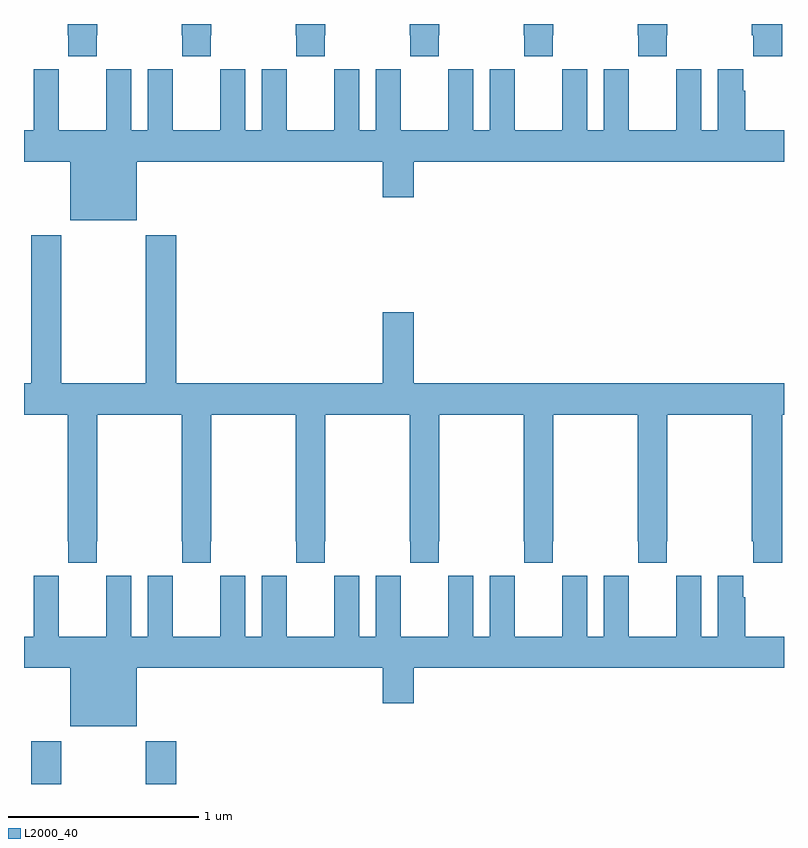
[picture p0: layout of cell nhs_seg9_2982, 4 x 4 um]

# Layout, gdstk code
import gdstk
lib = gdstk.Library(unit=1e-6, precision=1e-09)
def R(c, l, rs):  # rectangles x0, y0, x1, y1
    for r in rs: c.add(gdstk.rectangle(r[:2], r[2:], *l))
def P(c, l, *ps):  # polygons
    for p in ps: c.add(gdstk.Polygon(p, *l))
L2000_40 = (2000, 40)

nhs_seg9_2982 = lib.new_cell('nhs_seg9_2982')
R(nhs_seg9_2982, L2000_40, [(283.037,1170.5,283.197,1170.724), (283.642,1170.5,283.802,1170.724)])
P(nhs_seg9_2982, L2000_40, [(286.991,1174.5),(286.831,1174.5),(286.831,1174.441),(286.837,1174.441),(286.837,1174.329),(286.991,1174.329)],
  [(283.383,1174.441),(283.386,1174.441),(283.386,1174.5),(283.231,1174.5),(283.231,1174.441),(283.233,1174.441),(283.233,1174.329),(283.383,1174.329)],
  [(283.983,1174.441),(283.986,1174.441),(283.986,1174.5),(283.831,1174.5),(283.831,1174.441),(283.833,1174.441),(283.833,1174.329),(283.983,1174.329)],
  [(284.583,1174.441),(284.586,1174.441),(284.586,1174.5),(284.431,1174.5),(284.431,1174.441),(284.433,1174.441),(284.433,1174.329),(284.583,1174.329)],
  [(285.183,1174.441),(285.186,1174.441),(285.186,1174.5),(285.031,1174.5),(285.031,1174.441),(285.033,1174.441),(285.033,1174.329),(285.183,1174.329)],
  [(285.783,1174.441),(285.786,1174.441),(285.786,1174.5),(285.631,1174.5),(285.631,1174.441),(285.633,1174.441),(285.633,1174.329),(285.783,1174.329)],
  [(286.383,1174.441),(286.386,1174.441),(286.386,1174.5),(286.231,1174.5),(286.231,1174.441),(286.233,1174.441),(286.233,1174.329),(286.383,1174.329)],
  [(283.182,1174.148),(283.182,1174.261),(283.052,1174.261),(283.052,1173.94),(283,1173.94),(283,1173.776),(283.244,1173.776),(283.244,1173.467),(283.594,1173.467),(283.594,1173.776),(284.888,1173.776),(284.888,1173.588),(285.052,1173.588),(285.052,1173.776),(287,1173.776),(287,1173.94),(286.796,1173.94),(286.796,1174.148),(286.786,1174.148),(286.786,1174.261),(286.652,1174.261),(286.652,1173.94),(286.564,1173.94),(286.564,1174.261),(286.434,1174.261),(286.434,1174.148),(286.433,1174.148),(286.433,1173.94),(286.183,1173.94),(286.183,1174.148),(286.182,1174.148),(286.182,1174.261),(286.052,1174.261),(286.052,1173.94),(285.964,1173.94),(285.964,1174.261),(285.834,1174.261),(285.834,1174.148),(285.833,1174.148),(285.833,1173.94),(285.583,1173.94),(285.583,1174.148),(285.582,1174.148),(285.582,1174.261),(285.452,1174.261),(285.452,1173.94),(285.364,1173.94),(285.364,1174.261),(285.234,1174.261),(285.234,1174.148),(285.233,1174.148),(285.233,1173.94),(284.983,1173.94),(284.983,1174.148),(284.982,1174.148),(284.982,1174.261),(284.852,1174.261),(284.852,1173.94),(284.764,1173.94),(284.764,1174.261),(284.634,1174.261),(284.634,1174.148),(284.633,1174.148),(284.633,1173.94),(284.383,1173.94),(284.383,1174.148),(284.382,1174.148),(284.382,1174.261),(284.252,1174.261),(284.252,1173.94),(284.164,1173.94),(284.164,1174.261),(284.034,1174.261),(284.034,1174.148),(284.033,1174.148),(284.033,1173.94),(283.783,1173.94),(283.783,1174.148),(283.782,1174.148),(283.782,1174.261),(283.652,1174.261),(283.652,1173.94),(283.564,1173.94),(283.564,1174.261),(283.434,1174.261),(283.434,1174.148),(283.433,1174.148),(283.433,1173.94),(283.183,1173.94),(283.183,1174.148)],
  [(283.383,1171.777),(283.386,1171.777),(283.386,1172.444),(283.831,1172.444),(283.831,1171.777),(283.833,1171.777),(283.833,1171.665),(283.983,1171.665),(283.983,1171.777),(283.986,1171.777),(283.986,1172.444),(284.431,1172.444),(284.431,1171.777),(284.433,1171.777),(284.433,1171.665),(284.583,1171.665),(284.583,1171.777),(284.586,1171.777),(284.586,1172.444),(285.031,1172.444),(285.031,1171.777),(285.033,1171.777),(285.033,1171.665),(285.183,1171.665),(285.183,1171.777),(285.186,1171.777),(285.186,1172.444),(285.631,1172.444),(285.631,1171.777),(285.633,1171.777),(285.633,1171.665),(285.783,1171.665),(285.783,1171.777),(285.786,1171.777),(285.786,1172.444),(286.231,1172.444),(286.231,1171.777),(286.233,1171.777),(286.233,1171.665),(286.383,1171.665),(286.383,1171.777),(286.386,1171.777),(286.386,1172.444),(286.831,1172.444),(286.831,1171.777),(286.837,1171.777),(286.837,1171.665),(286.991,1171.665),(286.991,1172.444),(287,1172.444),(287,1172.608),(285.052,1172.608),(285.052,1172.983),(284.888,1172.983),(284.888,1172.608),(283.802,1172.608),(283.802,1173.388),(283.642,1173.388),(283.642,1172.608),(283.197,1172.608),(283.197,1173.388),(283.037,1173.388),(283.037,1172.608),(283,1172.608),(283,1172.444),(283.231,1172.444),(283.231,1171.777),(283.233,1171.777),(283.233,1171.665),(283.383,1171.665)],
  [(287,1171.276),(286.796,1171.276),(286.796,1171.484),(286.786,1171.484),(286.786,1171.597),(286.652,1171.597),(286.652,1171.276),(286.564,1171.276),(286.564,1171.597),(286.434,1171.597),(286.434,1171.484),(286.433,1171.484),(286.433,1171.276),(286.183,1171.276),(286.183,1171.484),(286.182,1171.484),(286.182,1171.597),(286.052,1171.597),(286.052,1171.276),(285.964,1171.276),(285.964,1171.597),(285.834,1171.597),(285.834,1171.484),(285.833,1171.484),(285.833,1171.276),(285.583,1171.276),(285.583,1171.484),(285.582,1171.484),(285.582,1171.597),(285.452,1171.597),(285.452,1171.276),(285.364,1171.276),(285.364,1171.597),(285.234,1171.597),(285.234,1171.484),(285.233,1171.484),(285.233,1171.276),(284.983,1171.276),(284.983,1171.484),(284.982,1171.484),(284.982,1171.597),(284.852,1171.597),(284.852,1171.276),(284.764,1171.276),(284.764,1171.597),(284.634,1171.597),(284.634,1171.484),(284.633,1171.484),(284.633,1171.276),(284.383,1171.276),(284.383,1171.484),(284.382,1171.484),(284.382,1171.597),(284.252,1171.597),(284.252,1171.276),(284.164,1171.276),(284.164,1171.597),(284.034,1171.597),(284.034,1171.484),(284.033,1171.484),(284.033,1171.276),(283.783,1171.276),(283.783,1171.484),(283.782,1171.484),(283.782,1171.597),(283.652,1171.597),(283.652,1171.276),(283.564,1171.276),(283.564,1171.597),(283.434,1171.597),(283.434,1171.484),(283.433,1171.484),(283.433,1171.276),(283.183,1171.276),(283.183,1171.484),(283.182,1171.484),(283.182,1171.597),(283.052,1171.597),(283.052,1171.276),(283,1171.276),(283,1171.112),(283.244,1171.112),(283.244,1170.803),(283.594,1170.803),(283.594,1171.112),(284.888,1171.112),(284.888,1170.924),(285.052,1170.924),(285.052,1171.112),(287,1171.112)])

lib.write_gds('nhs_seg9_2982.gds')
